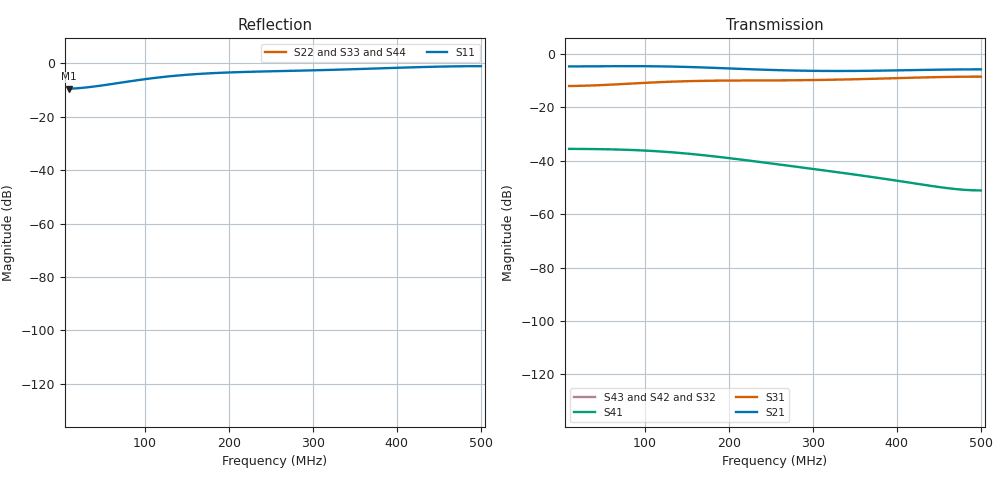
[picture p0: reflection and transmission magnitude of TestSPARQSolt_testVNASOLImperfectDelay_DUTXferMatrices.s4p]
# MHz MA S R 50.0
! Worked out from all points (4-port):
!   50 points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, 10 MHz to 500 MHz, reference 50 ohm
!   strongest paths, dB at 10 MHz, 130 MHz, 260 MHz, 380 MHz, 500 MHz:
!     S21: -4.7, -4.7, -6.1, -6.3, -5.8
!     S31: -12.0, -10.4, -9.9, -9.2, -8.5
!     S41: -35.6, -36.8, -41.4, -46.5, -51.1
!     S43: -, -, -, -, -
!     S42: -, -, -, -, -
!     S32: -, -, -, -, -
!   lowest |S11| = -9.5 dB at 10 MHz (marker M1), VSWR 2.01, Z = 101 + j1.32 ohm
!   |S11| at or under -10 dB: nowhere
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10  0.3358 1.0  0 0.0  0 0.0  0 0.0
    0.5835 -3.8  0 0.0  0 0.0  0 0.0
    0.2505 169.8  0 0.0  0 0.0  0 0.0
    0.01666 -5.7  0 0.0  0 0.0  0 0.0
90  0.482 -7.3  0 0.0  0 0.0  0 0.0
    0.5893 -35.5  0 0.0  0 0.0  0 0.0
    0.2817 90.3  0 0.0  0 0.0  0 0.0
    0.01576 -52.4  0 0.0  0 0.0  0 0.0
160  0.6298 -35.2  0 0.0  0 0.0  0 0.0
     0.5639 -64.8  0 0.0  0 0.0  0 0.0
     0.311 28.2  0 0.0  0 0.0  0 0.0
     0.01316 -93.0  0 0.0  0 0.0  0 0.0
220  0.6937 -61.6  0 0.0  0 0.0  0 0.0
     0.5203 -87.2  0 0.0  0 0.0  0 0.0
     0.318 -16.5  0 0.0  0 0.0  0 0.0
     0.01025 -123.1  0 0.0  0 0.0  0 0.0
310  0.7499 -97.8  0 0.0  0 0.0  0 0.0
     0.4806 -115.4  0 0.0  0 0.0  0 0.0
     0.3258 -71.4  0 0.0  0 0.0  0 0.0
     0.006692 -158.0  0 0.0  0 0.0  0 0.0
410  0.8379 -138.6  0 0.0  0 0.0  0 0.0
     0.4947 -146.8  0 0.0  0 0.0  0 0.0
     0.3555 -127.0  0 0.0  0 0.0  0 0.0
     0.004004 176.3  0 0.0  0 0.0  0 0.0
500  0.8889 180.0  0 0.0  0 0.0  0 0.0
     0.5139 180.0  0 0.0  0 0.0  0 0.0
     0.375 180.0  0 0.0  0 0.0  0 0.0
     0.002778 -180.0  0 0.0  0 0.0  0 0.0
